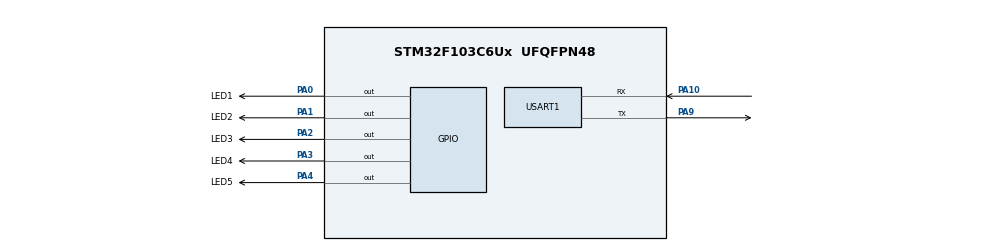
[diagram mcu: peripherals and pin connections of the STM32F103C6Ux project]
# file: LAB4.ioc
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Mcu.Family=STM32F1
Mcu.Name=STM32F103C6Ux
Mcu.Package=UFQFPN48
NVIC.PriorityGroup=NVIC_PRIORITYGROUP_4
NVIC.TIM2_IRQn=true\:0\:0\:false\:false\:true\:true\:true
PA0-WKUP.GPIO_Label=LED1
PA0-WKUP.Signal=GPIO_Output
PA1.GPIO_Label=LED2
PA1.Signal=GPIO_Output
PA10.Mode=Asynchronous
PA10.Signal=USART1_RX
PA2.GPIO_Label=LED3
PA2.Signal=GPIO_Output
PA3.GPIO_Label=LED4
PA3.Signal=GPIO_Output
PA4.GPIO_Label=LED5
PA4.Signal=GPIO_Output
PA9.Mode=Asynchronous
PA9.Signal=USART1_TX
ProjectManager.HeapSize=0x200
ProjectManager.StackSize=0x400
ProjectManager.TargetToolchain=STM32CubeIDE
RCC.APB1Freq_Value=8000000
RCC.APB2Freq_Value=8000000
TIM2.Period=9
TIM2.Prescaler=7999
USART1.VirtualMode=VM_ASYNC
VP_SYS_VS_ND.Mode=No_Debug
VP_TIM2_VS_ClockSourceINT.Mode=Internal
board=custom

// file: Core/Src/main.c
/* USER CODE BEGIN Header */
/**
  ******************************************************************************
  * @file           : main.c
  * @brief          : Main program body
  ******************************************************************************
  * @attention
  *
  * <h2><center>&copy; Copyright (c) 2026 STMicroelectronics.
  * All rights reserved.</center></h2>
  *
  * This software component is licensed by ST under BSD 3-Clause license,
  * the "License"; You may not use this file except in compliance with the
  * License. You may obtain a copy of the License at:
  *                        opensource.org/licenses/BSD-3-Clause
  *
  ******************************************************************************
  */
/* USER CODE END Header */
#include "main.h"

/* USER CODE BEGIN Includes */
#include "scheduler.h"
#include <stdio.h>
#include <string.h>
/* USER CODE END Includes */

TIM_HandleTypeDef htim2;

UART_HandleTypeDef huart1;

void SystemClock_Config(void);
static void MX_GPIO_Init(void);
static void MX_TIM2_Init(void);
static void MX_USART1_UART_Init(void);

/* USER CODE BEGIN 0 */
static void printTime(const char *name) {
  char buf[48];
  int n = snprintf(buf, sizeof(buf), "%s at %lu ms\r\n", name, (unsigned long)SCH_Get_Time());
  HAL_UART_Transmit(&huart1, (uint8_t *)buf, n, 100);
}

void Task1(void) { HAL_GPIO_TogglePin(LED1_GPIO_Port, LED1_Pin); printTime("LED1 (0.5 s)"); }
void Task2(void) { HAL_GPIO_TogglePin(LED2_GPIO_Port, LED2_Pin); printTime("LED2 (1 s)"); }
void Task3(void) { HAL_GPIO_TogglePin(LED3_GPIO_Port, LED3_Pin); printTime("LED3 (1.5 s)"); }
void Task4(void) { HAL_GPIO_TogglePin(LED4_GPIO_Port, LED4_Pin); printTime("LED4 (2 s)"); }
void Task5(void) { HAL_GPIO_TogglePin(LED5_GPIO_Port, LED5_Pin); printTime("LED5 (2.5 s)"); }

void OneShot(void) { printTime("One-shot task"); }

static uint32_t idLED1;

void StopLED1(void) {
  if (SCH_Delete_Task(idLED1)) printTime("LED1 task deleted");
}

uint32_t get_time(void) { return SCH_Get_Time(); }   // name used in the manual

static uint32_t id10ms;

void Every10ms(void) {
  char buf[32];
  int n = snprintf(buf, sizeof(buf), "10 ms task: %lu ms\r\n", (unsigned long)get_time());
  HAL_UART_Transmit(&huart1, (uint8_t *)buf, n, 100);
}
/* USER CODE END 0 */

int main(void)
{

  /* MCU Configuration--------------------------------------------------------*/

  /* Reset of all peripherals, Initializes the Flash interface and the Systick. */
  HAL_Init();

  /* Configure the system clock */
  SystemClock_Config();

  /* Initialize all configured peripherals */
  MX_GPIO_Init();
  MX_TIM2_Init();
  MX_USART1_UART_Init();
  /* USER CODE BEGIN 2 */
  HAL_TIM_Base_Start_IT(&htim2);
  SCH_Init();
  idLED1 = SCH_Add_Task(Task1, 0, 500);
  id10ms = SCH_Add_Task(Every10ms, 100, 10);
  SCH_Add_Task(Task2, 0, 1000);
  SCH_Add_Task(Task3, 0, 1500);
  SCH_Add_Task(Task4, 0, 2000);
  SCH_Add_Task(Task5, 0, 2500);
  SCH_Add_Task(OneShot, 3000, 0);
  SCH_Add_Task(OneShot, 4000, 0);
  SCH_Add_Task(OneShot, 5000, 0);
  SCH_Add_Task(StopLED1, 10000, 0);
  /* USER CODE END 2 */

  /* Infinite loop */
  /* USER CODE BEGIN WHILE */
  while (1)
  {
	SCH_Dispatch_Tasks();
    /* USER CODE END WHILE */

  }
}

void SystemClock_Config(void)
{
  RCC_OscInitTypeDef RCC_OscInitStruct = {0};
  RCC_ClkInitTypeDef RCC_ClkInitStruct = {0};

  /** Initializes the RCC Oscillators according to the specified parameters
  * in the RCC_OscInitTypeDef structure.
  */
  RCC_OscInitStruct.OscillatorType = RCC_OSCILLATORTYPE_HSI;
  RCC_OscInitStruct.HSIState = RCC_HSI_ON;
  RCC_OscInitStruct.HSICalibrationValue = RCC_HSICALIBRATION_DEFAULT;
  RCC_OscInitStruct.PLL.PLLState = RCC_PLL_NONE;
  if (HAL_RCC_OscConfig(&RCC_OscInitStruct) != HAL_OK)
  {
    Error_Handler();
  }
  /** Initializes the CPU, AHB and APB buses clocks
  */
  RCC_ClkInitStruct.ClockType = RCC_CLOCKTYPE_HCLK|RCC_CLOCKTYPE_SYSCLK
                              |RCC_CLOCKTYPE_PCLK1|RCC_CLOCKTYPE_PCLK2;
  RCC_ClkInitStruct.SYSCLKSource = RCC_SYSCLKSOURCE_HSI;
  RCC_ClkInitStruct.AHBCLKDivider = RCC_SYSCLK_DIV1;
  RCC_ClkInitStruct.APB1CLKDivider = RCC_HCLK_DIV1;
  RCC_ClkInitStruct.APB2CLKDivider = RCC_HCLK_DIV1;

  if (HAL_RCC_ClockConfig(&RCC_ClkInitStruct, FLASH_LATENCY_0) != HAL_OK)
  {
    Error_Handler();
  }
}

static void MX_TIM2_Init(void)
{

  TIM_ClockConfigTypeDef sClockSourceConfig = {0};
  TIM_MasterConfigTypeDef sMasterConfig = {0};

  htim2.Instance = TIM2;
  htim2.Init.Prescaler = 7999;
  htim2.Init.CounterMode = TIM_COUNTERMODE_UP;
  htim2.Init.Period = 9;
  htim2.Init.ClockDivision = TIM_CLOCKDIVISION_DIV1;
  htim2.Init.AutoReloadPreload = TIM_AUTORELOAD_PRELOAD_DISABLE;
  if (HAL_TIM_Base_Init(&htim2) != HAL_OK)
  {
    Error_Handler();
  }
  sClockSourceConfig.ClockSource = TIM_CLOCKSOURCE_INTERNAL;
  if (HAL_TIM_ConfigClockSource(&htim2, &sClockSourceConfig) != HAL_OK)
  {
    Error_Handler();
  }
  sMasterConfig.MasterOutputTrigger = TIM_TRGO_RESET;
  sMasterConfig.MasterSlaveMode = TIM_MASTERSLAVEMODE_DISABLE;
  if (HAL_TIMEx_MasterConfigSynchronization(&htim2, &sMasterConfig) != HAL_OK)
  {
    Error_Handler();
  }

}

static void MX_USART1_UART_Init(void)
{

  huart1.Instance = USART1;
  huart1.Init.BaudRate = 115200;
  huart1.Init.WordLength = UART_WORDLENGTH_8B;
  huart1.Init.StopBits = UART_STOPBITS_1;
  huart1.Init.Parity = UART_PARITY_NONE;
  huart1.Init.Mode = UART_MODE_TX_RX;
  huart1.Init.HwFlowCtl = UART_HWCONTROL_NONE;
  huart1.Init.OverSampling = UART_OVERSAMPLING_16;
  if (HAL_UART_Init(&huart1) != HAL_OK)
  {
    Error_Handler();
  }

}

static void MX_GPIO_Init(void)
{
  GPIO_InitTypeDef GPIO_InitStruct = {0};

  /* GPIO Ports Clock Enable */
  __HAL_RCC_GPIOA_CLK_ENABLE();

  /*Configure GPIO pin Output Level */
  HAL_GPIO_WritePin(GPIOA, LED1_Pin|LED2_Pin|LED3_Pin|LED4_Pin
                          |LED5_Pin, GPIO_PIN_RESET);

  /*Configure GPIO pins : LED1_Pin LED2_Pin LED3_Pin LED4_Pin
                           LED5_Pin */
  GPIO_InitStruct.Pin = LED1_Pin|LED2_Pin|LED3_Pin|LED4_Pin
                          |LED5_Pin;
  GPIO_InitStruct.Mode = GPIO_MODE_OUTPUT_PP;
  GPIO_InitStruct.Pull = GPIO_NOPULL;
  GPIO_InitStruct.Speed = GPIO_SPEED_FREQ_LOW;
  HAL_GPIO_Init(GPIOA, &GPIO_InitStruct);

}

/* USER CODE BEGIN 4 */
void HAL_TIM_PeriodElapsedCallback(TIM_HandleTypeDef *htim) {
  if (htim->Instance == TIM2) SCH_Update();
}
/* USER CODE END 4 */

void Error_Handler(void)
{
  __disable_irq();
  while (1)
  {
  }
}

/************************ (C) COPYRIGHT STMicroelectronics *****END OF FILE****/
